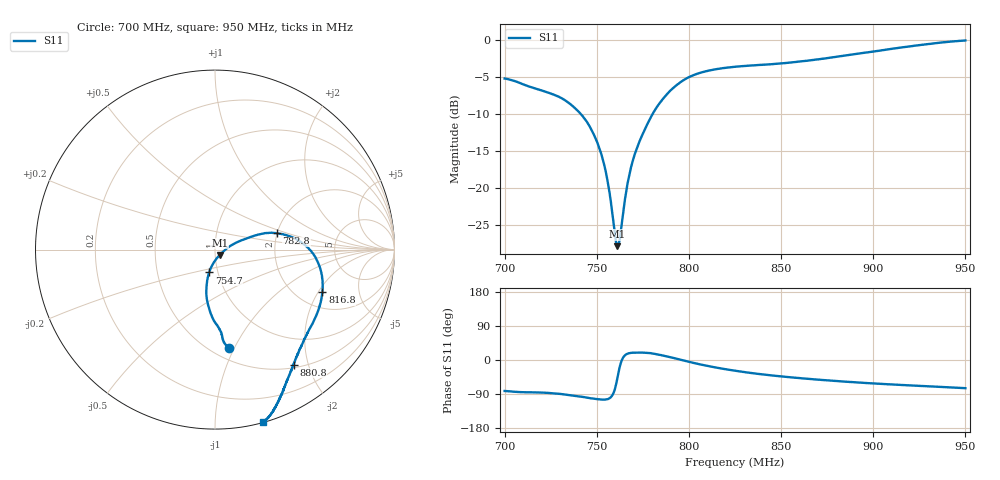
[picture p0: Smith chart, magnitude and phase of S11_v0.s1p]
# HZ S RI R 50
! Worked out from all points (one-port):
!   1024 points, 700 MHz to 950 MHz, reference 50 ohm
!   lowest |S11| = -27.9 dB at 761.1 MHz (marker M1), VSWR 1.08, Z = 52.6 - j3.22 ohm
!   |S11| at or under -10 dB: 741.4 MHz to 780.3 MHz (38.88 MHz wide, 5.11 % of centre)
!   S11 on the Smith chart (normalised r, x): 700 MHz: 0.61, -0.95; 754.7 MHz: 0.91, -0.24; 782.8 MHz: 2.00, +0.42; 816.8 MHz: 2.68, -2.18; 880.8 MHz: 0.55, -1.76; 950 MHz: 0.00, -1.32
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7e8  0.0792 -0.5456
7.312805e8  -0.00149 -0.4028
7.393451e8  -0.0309 -0.3351
7.454545e8  -0.0467 -0.2658
7.508309e8  -0.0455 -0.1896
7.530303e8  -0.0401 -0.1546
7.54741e8  -0.0324 -0.1274
7.569404e8  -0.0175 -0.091
7.598729e8  0.0114 -0.0469
7.610948e8  0.0261 -0.0306
7.61828e8  0.0353 -0.0221
7.625611e8  0.0437 -0.0129
7.664712e8  0.0992 0.0286
7.679374e8  0.1207 0.04
7.696481e8  0.1455 0.0512
7.750244e8  0.2202 0.0778
7.828446e8  0.3454 0.0906
7.887097e8  0.4352 0.0668
7.938416e8  0.5031 0.0249
8.038612e8  0.582 -0.0933
8.168133e8  0.5983 -0.2382
8.251222e8  0.5825 -0.3144
8.388074e8  0.5422 -0.4142
8.564027e8  0.4923 -0.5126
8.808407e8  0.4379 -0.6412
8.876833e8  0.4236 -0.6776
9.189638e8  0.3565 -0.8357
9.5e8  0.2694 -0.9619
